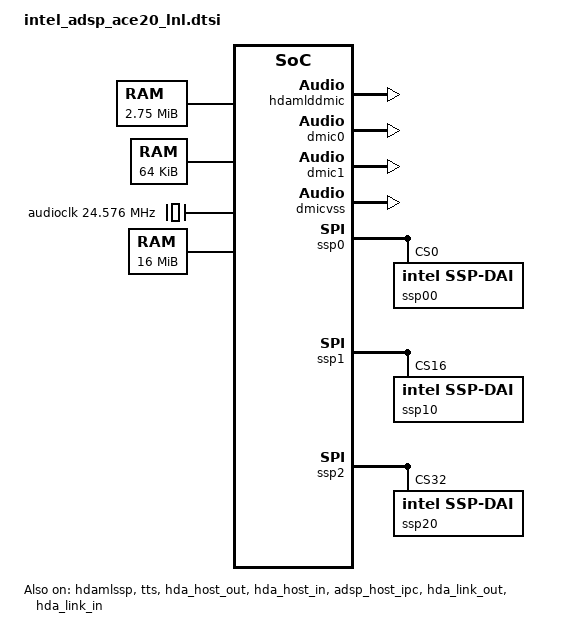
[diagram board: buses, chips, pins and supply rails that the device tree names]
/*
 * Copyright (c) 2022 Intel Corporation
 *
 * SPDX-License-Identifier: Apache-2.0
 */

#include <xtensa/xtensa.dtsi>
#include <mem.h>

/ {
	cpus {
		#address-cells = <1>;
		#size-cells = <0>;

		cpu0: cpu@0 {
			device_type = "cpu";
			compatible = "cdns,tensilica-xtensa-lx7";
			reg = <0>;
			cpu-power-states = <&d0i3 &d3>;
			i-cache-line-size = <64>;
			d-cache-line-size = <64>;
		};

		cpu1: cpu@1 {
			device_type = "cpu";
			compatible = "cdns,tensilica-xtensa-lx7";
			reg = <1>;
			cpu-power-states = <&d0i3 &d3>;
		};

		cpu2: cpu@2 {
			device_type = "cpu";
			compatible = "cdns,tensilica-xtensa-lx7";
			reg = <2>;
			cpu-power-states = <&d0i3 &d3>;
		};

		cpu3: cpu@3 {
			device_type = "cpu";
			compatible = "cdns,tensilica-xtensa-lx7";
			reg = <3>;
			cpu-power-states = <&d0i3 &d3>;
		};

		cpu4: cpu@4 {
			device_type = "cpu";
			compatible = "cdns,tensilica-xtensa-lx7";
			reg = <4>;
			cpu-power-states = <&d0i3 &d3>;
		};

		power-states {
			d0i3: idle {
				compatible = "zephyr,power-state";
				power-state-name = "runtime-idle";
				min-residency-us = <200>;
				exit-latency-us = <100>;
			};
			/* PM_STATE_SOFT_OFF can be entered only by calling pm_state_force.
			 * The procedure is triggered by IPC from the HOST (SET_DX).
			 */
			d3: off {
				compatible = "zephyr,power-state";
				power-state-name = "soft-off";
				min-residency-us = <0>;
				exit-latency-us = <0>;
				status = "disabled";
			};
		};
	};

	sram0: memory@a0020000 {
		device_type = "memory";
		compatible = "mmio-sram";
		reg = <0xa0020000 DT_SIZE_K(2816)>;
	};

	sram0virtual: virtualmemory@a0020000 {
		device_type = "memory";
		compatible = "mmio-sram";
		reg = <0xa0020000 DT_SIZE_K(8192)>;
	};

	sram1: memory@a0000000 {
		device_type = "memory";
		compatible = "mmio-sram";
		reg = <0xa0000000 DT_SIZE_K(64)>;
	};

	sysclk: system-clock {
		compatible = "fixed-clock";
		clock-frequency = <38400000>;
		#clock-cells = <0>;
	};

	clkctl: clkctl {
		compatible = "intel,adsp-shim-clkctl";
		adsp-clkctl-clk-wovcro = <0>;
		adsp-clkctl-clk-ipll = <1>;
		adsp-clkctl-freq-enc = <0xc 0x4>;
		adsp-clkctl-freq-mask = <0x0 0x0>;
		adsp-clkctl-freq-default = <1>;
		adsp-clkctl-freq-lowest = <0>;
		wovcro-supported;
	};

	audioclk: audio-clock {
		compatible = "fixed-clock";
		clock-frequency = <24576000>;
		#clock-cells = <0>;
	};

	pllclk: pll-clock {
		compatible = "fixed-clock";
		clock-frequency = <96000000>;
		#clock-cells = <0>;
	};

	IMR1: memory@A1000000 {
		compatible = "intel,adsp-imr";
		reg = <0xA1000000 DT_SIZE_M(16)>;
		block-size = <0x1000>;
		zephyr,memory-region = "IMR1";
	};

	shim: shim@71f00 {
		compatible = "intel,adsp-shim";
		reg = <0x71f00 0x100>;
	};

	soc {

		lsbpm: lsbpm@71d80 {
			compatible = "intel,adsp-lsbpm";
			reg = <0x71d80 0x0008>;
		};

		hsbpm: hsbpm@17a800 {
			compatible = "intel,adsp-hsbpm";
			reg = <0x17a800 0x0008>;
		};

		core_intc: core_intc@0 {
			compatible = "cdns,xtensa-core-intc";
			reg = <0x00 0x400>;
			interrupt-controller;
			#interrupt-cells = <3>;
		};

		hdamlddmic: hdamlddmic@cc0 {
			compatible = "intel,adsp-hda-dmic-cap";
			reg = <0xcc0 0x40>;
			status = "okay";
		};

		dmic0: dai-dmic0@10100 {
			compatible = "intel,dai-dmic";
			reg = <0x10100 0x8000>;
			shim = <0x10000>;
			fifo = <0x0008>;
			interrupts = <0x08 0 0>;
			interrupt-parent = <&ace_intc>;
		};

		dmic1: dai-dmic1@10100 {
			compatible = "intel,dai-dmic";
			reg = <0x10100 0x8000>;
			shim = <0x10000>;
			fifo = <0x0108>;
			interrupts = <0x08 0 0>;
			interrupt-parent = <&ace_intc>;
		};

		dmicvss: dmicvss@16000 {
			compatible = "intel,adsp-dmic-vss";
			reg = <0x16000 0x2000>;
			status = "okay";
		};

		sspbase: ssp_base@28000 {
			compatible = "intel,ssp-sspbase";
			reg = <0x28000 0x1000>;
		};

		hdamlssp: hdamlssp@d00 {
			compatible = "intel,adsp-hda-ssp-cap";
			reg = <0xD00 0x40>;
			status = "okay";
		};

		ssp0: ssp@28100 {
			compatible = "intel,ssp";
			#address-cells = <1>;
			#size-cells = <0>;
			reg = <0x00028100 0x1000
				   0x00079C00 0x200>;
			i2svss = <0x00028C00 0x1000>;
			interrupts = <0x00 0 0>;
			interrupt-parent = <&ace_intc>;
			dmas = <&hda_link_out 1
				&hda_link_in 1>;
			dma-names = "tx", "rx";
			power-domain = <&io0_domain>;
			ssp-index = <0>;
			status = "okay";

			ssp00: ssp@0 {
				compatible = "intel,ssp-dai";
				status = "okay";
				reg = <0x0>;
			};
		};

		ssp1: ssp@29100 {
			compatible = "intel,ssp";
			#address-cells = <1>;
			#size-cells = <0>;
			reg = <0x00029100 0x1000
				   0x00079C00 0x200>;
			i2svss = <0x00029C00 0x1000>;
			interrupts = <0x01 0 0>;
			interrupt-parent = <&ace_intc>;
			dmas = <&hda_link_out 2
				&hda_link_in 2>;
			dma-names = "tx", "rx";
			power-domain = <&io0_domain>;
			ssp-index = <1>;
			status = "okay";

			ssp10: ssp@10 {
				compatible = "intel,ssp-dai";
				status = "okay";
				reg = <0x10>;
			};
		};

		ssp2: ssp@2a100 {
			compatible = "intel,ssp";
			#address-cells = <1>;
			#size-cells = <0>;
			reg = <0x0002a100 0x1000
				   0x00079C00 0x200>;
			i2svss = <0x0002AC00 0x1000>;
			interrupts = <0x02 0 0>;
			interrupt-parent = <&ace_intc>;
			dmas = <&hda_link_out 3
				&hda_link_in 3>;
			dma-names = "tx", "rx";
			power-domain = <&io0_domain>;
			ssp-index = <2>;
			status = "okay";

			ssp20: ssp@20 {
				compatible = "intel,ssp-dai";
				status = "okay";
				reg = <0x20>;
			};
		};

		mem_window0: mem_window@70200 {
			compatible = "intel,adsp-mem-window";
			reg = <0x70200 0x8>;
			offset = <0x4000>;
			memory = <&sram0>;
			initialize;
			read-only;
		};

		mem_window1: mem_window@70208 {
			compatible = "intel,adsp-mem-window";
			reg = <0x70208 0x8>;
			memory = <&sram0>;
		};

		mem_window2: mem_window@70210 {
			compatible = "intel,adsp-mem-window";
			reg = <0x70210 0x8>;
			memory = <&sram0>;
		};

		mem_window3: mem_window@70218 {
			compatible = "intel,adsp-mem-window";
			reg = <0x70218 0x8>;
			memory = <&sram0>;
			read-only;
		};

		adsp_idc: ace_idc@70400 {
			compatible = "intel,adsp-idc";
			reg = <0x70400 0x0400>;
			interrupts = <24 0 0>;
			interrupt-parent = <&ace_intc>;
		};

		dfpmcch: dfpmcch@71ac0 {
			compatible = "intel,adsp-dfpmcch";
			reg = <0x00071ac0 0x40>;
		};

		dfpmccu: dfpmccu@71b00 {
			compatible = "intel,adsp-dfpmccu";
			reg = <0x71b00 0x100>;

			hub_ulp_domain: hub_ulp_domain {
				compatible = "intel,adsp-power-domain";
				bit-position = <15>;
			};
			ml0_domain: ml0_domain {
				compatible = "intel,adsp-power-domain";
				bit-position = <12>;
			};
			io1_domain: io1_domain {
				compatible = "intel,adsp-power-domain";
				bit-position = <9>;
			};
			io0_domain: io0_domain {
				compatible = "intel,adsp-power-domain";
				bit-position = <8>;
			};
			hub_hp_domain: hub_hp_domain {
				compatible = "intel,adsp-power-domain";
				bit-position = <6>;
			};
			hst_domain: hst_domain {
				compatible = "intel,adsp-power-domain";
				bit-position = <5>;
			};
		};

		tts: tts@72000 {
			compatible = "intel,adsp-tts";
			reg = <0x72000 0x70>;
			status = "okay";
		};

		ace_rtc_counter: ace_rtc_counter@72008 {
			compatible = "intel,ace-rtc-counter";
			reg = <0x72008 0x0064>;
		};


		ace_timestamp: ace_timestamp@72040 {
			compatible = "intel,ace-timestamp";
			reg = <0x72040 0x0032>;
		};

		ace_art_counter: ace_art_counter@72058 {
			compatible = "intel,ace-art-counter";
			reg = <0x72058 0x0064>;
		};

		hda_host_out: dma@72800 {
			compatible = "intel,adsp-hda-host-out";
			#dma-cells = <1>;
			reg = <0x00072800 0x40>;
			dma-channels = <9>;
			dma-buf-addr-alignment = <128>;
			dma-buf-size-alignment = <32>;
			dma-copy-alignment = <16>;
			interrupts = <13 0 0>;
			interrupt-parent = <&ace_intc>;
			status = "okay";
		};

		hda_host_in: dma@72c00 {
			compatible = "intel,adsp-hda-host-in";
			#dma-cells = <1>;
			reg = <0x00072c00 0x40>;
			dma-channels = <11>;
			dma-buf-addr-alignment = <128>;
			dma-buf-size-alignment = <32>;
			dma-copy-alignment = <16>;
			interrupts = <12 0 0>;
			interrupt-parent = <&ace_intc>;
			status = "okay";
		};

		adsp_host_ipc: ace_host_ipc@73000 {
			compatible = "intel,adsp-host-ipc";
			status = "okay";
			reg = <0x73000 0x30>;
			interrupts = <0 0 0>;
			interrupt-parent = <&ace_intc>;
		};

		hda_link_out: dma@79400 {
			compatible = "intel,adsp-hda-link-out";
			#dma-cells = <1>;
			reg = <0x00079400 0x40>;
			dma-channels = <9>;
			dma-buf-addr-alignment = <128>;
			dma-buf-size-alignment = <32>;
			dma-copy-alignment = <16>;
			status = "okay";
		};

		hda_link_in: dma@79800 {
			compatible = "intel,adsp-hda-link-in";
			#dma-cells = <1>;
			reg = <0x00079800 0x40>;
			dma-channels = <11>;
			dma-buf-addr-alignment = <128>;
			dma-buf-size-alignment = <32>;
			dma-copy-alignment = <16>;
			status = "okay";
		};

		/* This is actually an array of per-core designware
		 * controllers, but the special setup and extra
		 * masking layer makes it easier for LNL to handle
		 * this internally.
		 */
		ace_intc: ace_intc@7ac00  {
			compatible = "intel,ace-intc";
			reg = <0x7ac00 0xc00>;
			interrupt-controller;
			#interrupt-cells = <3>;
			interrupts = <4 0 0>;
			num-irqs = <28>;
			interrupt-parent = <&core_intc>;
		};

		tlb: tlb@17e000 {
			compatible = "intel,adsp-mtl-tlb";
			reg = <0x17e000 0x1000>;
			paddr-size = <12>;
			exec-bit-idx = <14>;
			write-bit-idx= <15>;
		};

		timer: timer {
			compatible = "intel,adsp-timer";
			syscon = <&tts>;
		};
	};

	hdas {
		#address-cells = <1>;
		#size-cells = <0>;

		hda0: hda@0 {
			compatible = "intel,hda-dai";
			status = "okay";
			reg = <0>;
		};
		hda1: hda@1 {
			compatible = "intel,hda-dai";
			status = "okay";
			reg = <1>;
		};
		hda2: hda@2 {
			compatible = "intel,hda-dai";
			status = "okay";
			reg = <2>;
		};
		hda3: hda@3 {
			compatible = "intel,hda-dai";
			status = "okay";
			reg = <3>;
		};
		hda4: hda@4 {
			compatible = "intel,hda-dai";
			status = "okay";
			reg = <4>;
		};
		hda5: hda@5 {
			compatible = "intel,hda-dai";
			status = "okay";
			reg = <5>;
		};
		hda6: hda@6 {
			compatible = "intel,hda-dai";
			status = "okay";
			reg = <6>;
		};
		hda7: hda@7 {
			compatible = "intel,hda-dai";
			status = "okay";
			reg = <7>;
		};
		hda8: hda@8 {
			compatible = "intel,hda-dai";
			status = "okay";
			reg = <8>;
		};
		hda9: hda@9 {
			compatible = "intel,hda-dai";
			status = "okay";
			reg = <9>;
		};
		hda10: hda@a {
			compatible = "intel,hda-dai";
			status = "okay";
			reg = <0x0a>;
		};
		hda11: hda@b {
			compatible = "intel,hda-dai";
			status = "okay";
			reg = <0x0b>;
		};
		hda12: hda@c {
			compatible = "intel,hda-dai";
			status = "okay";
			reg = <0x0c>;
		};
		hda13: hda@d {
			compatible = "intel,hda-dai";
			status = "okay";
			reg = <0x0d>;
		};
		hda14: hda@e {
			compatible = "intel,hda-dai";
			status = "okay";
			reg = <0x0e>;
		};
		hda15: hda@f {
			compatible = "intel,hda-dai";
			status = "okay";
			reg = <0x0f>;
		};
		hda16: hda@10 {
			compatible = "intel,hda-dai";
			status = "okay";
			reg = <0x10>;
		};
		hda17: hda@11 {
			compatible = "intel,hda-dai";
			status = "okay";
			reg = <0x11>;
		};
		hda18: hda@12 {
			compatible = "intel,hda-dai";
			status = "okay";
			reg = <0x12>;
		};
	};
};
